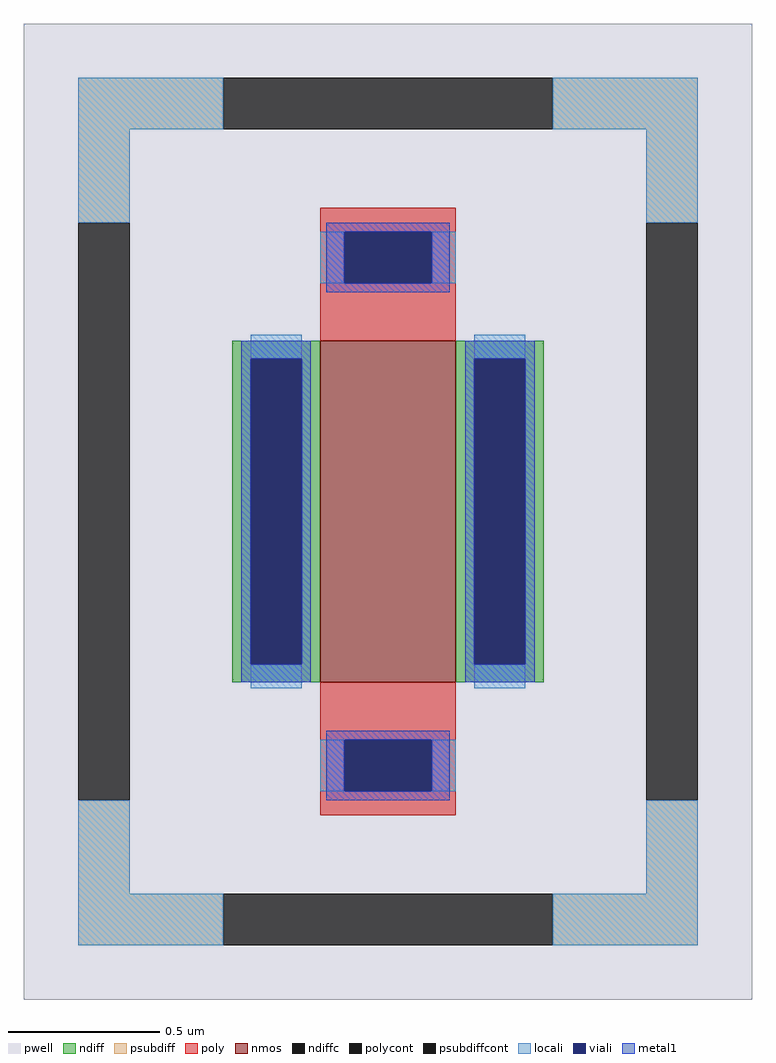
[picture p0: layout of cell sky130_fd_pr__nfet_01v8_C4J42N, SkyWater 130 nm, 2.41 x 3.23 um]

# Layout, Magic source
magic
tech sky130A
magscale 1 2
<< pwell >>
rect -241 -323 241 323
<< nmos >>
rect -45 -113 45 113
<< ndiff >>
rect -103 101 -45 113
rect -103 -101 -91 101
rect -57 -101 -45 101
rect -103 -113 -45 -101
rect 45 101 103 113
rect 45 -101 57 101
rect 91 -101 103 101
rect 45 -113 103 -101
<< ndiffc >>
rect -91 -101 -57 101
rect 57 -101 91 101
<< psubdiff >>
rect -205 253 -109 287
rect 109 253 205 287
rect -205 191 -171 253
rect 171 191 205 253
rect -205 -253 -171 -191
rect 171 -253 205 -191
rect -205 -287 -109 -253
rect 109 -287 205 -253
<< psubdiffcont >>
rect -109 253 109 287
rect -205 -191 -171 191
rect 171 -191 205 191
rect -109 -287 109 -253
<< poly >>
rect -45 185 45 201
rect -45 151 -29 185
rect 29 151 45 185
rect -45 113 45 151
rect -45 -151 45 -113
rect -45 -185 -29 -151
rect 29 -185 45 -151
rect -45 -201 45 -185
<< polycont >>
rect -29 151 29 185
rect -29 -185 29 -151
<< locali >>
rect -205 253 -109 287
rect 109 253 205 287
rect -205 191 -171 253
rect 171 191 205 253
rect -45 151 -29 185
rect 29 151 45 185
rect -91 101 -57 117
rect -91 -117 -57 -101
rect 57 101 91 117
rect 57 -117 91 -101
rect -45 -185 -29 -151
rect 29 -185 45 -151
rect -205 -253 -171 -191
rect 171 -253 205 -191
rect -205 -287 -109 -253
rect 109 -287 205 -253
<< viali >>
rect -29 151 29 185
rect -91 -101 -57 101
rect 57 -101 91 101
rect -29 -185 29 -151
<< metal1 >>
rect -41 185 41 191
rect -41 151 -29 185
rect 29 151 41 185
rect -41 145 41 151
rect -97 101 -51 113
rect -97 -101 -91 101
rect -57 -101 -51 101
rect -97 -113 -51 -101
rect 51 101 97 113
rect 51 -101 57 101
rect 91 -101 97 101
rect 51 -113 97 -101
rect -41 -151 41 -145
rect -41 -185 -29 -151
rect 29 -185 41 -151
rect -41 -191 41 -185
<< properties >>
string FIXED_BBOX -188 -270 188 270
string gencell sky130_fd_pr__nfet_01v8
string library sky130
string parameters w 1.13 l 0.45 m 1 nf 1 diffcov 100 polycov 100 guard 1 glc 1 grc 1 gtc 1 gbc 1 tbcov 100 rlcov 100 topc 1 botc 1 poverlap 0 doverlap 1 lmin 0.15 wmin 0.42 compatible {sky130_fd_pr__nfet_01v8 sky130_fd_pr__nfet_01v8_lvt  sky130_fd_bs_flash__special_sonosfet_star  sky130_fd_pr__nfet_g5v0d10v5 sky130_fd_pr__nfet_05v0_nvt  sky130_fd_pr__nfet_03v3_nvt} full_metal 1 viasrc 100 viadrn 100 viagate 100 viagb 0 viagr 0 viagl 0 viagt 0
<< end >>
